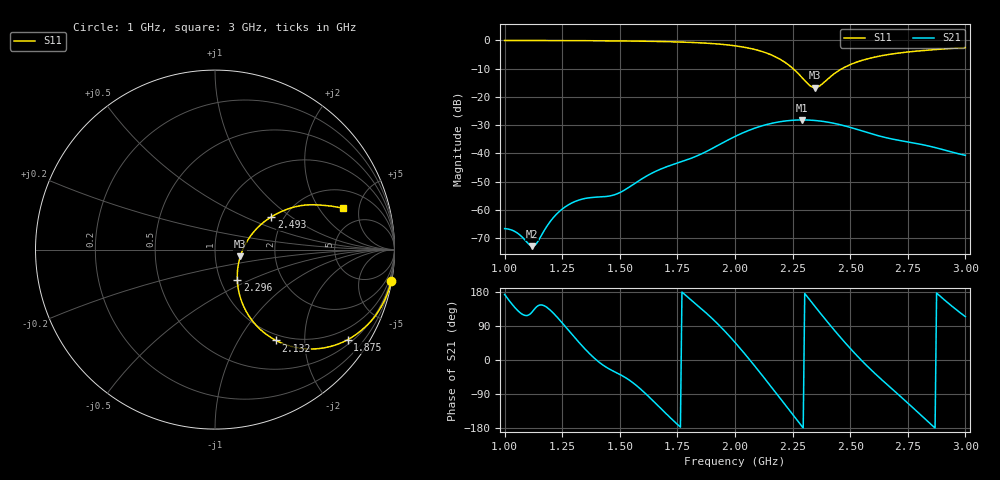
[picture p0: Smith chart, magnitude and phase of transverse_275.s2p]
! TOUCHSTONE file generated by CST MICROWAVE STUDIO
! Date and time: Tue Mar 11 13:58:22 2025
! Project name: transverse.cst
! Parameters = {Fracture=1; B=12.5; D=160; F=15; Feed=2.85625; L=100; M=30; R=0.384908; S=2; Theta=270; length=57.125; wave=114.25}
! Header version: 2024
! Port assignment regex: !\s*Touchstone port\s*([0-9]+)\s*=\s*(CST MWS port|CST DES external port|CST DES block port)\s*(.+)\s* \(\"(.*)\"\)(\s*mode\s*([0-9]+))?.*
! Touchstone port assignment:
! Touchstone port 1 = CST MWS port 1 ("")
! Touchstone port 2 = CST MWS port 2 ("")
# GHz S MA R 50
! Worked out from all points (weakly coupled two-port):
!   305 points, 1 GHz to 3 GHz, reference 50 ohm
!   highest |S21| = -28.13 dB at 2.289 GHz (marker M1); lowest = -72.8 dB at 1.118 GHz (marker M2)
!   lowest |S11| = -16.7 dB at 2.349 GHz (marker M3), VSWR 1.34, Z = 66.2 - j5.01 ohm
!   |S11| at or under -10 dB: 2.252 GHz to 2.464 GHz (212.1 MHz wide, 9 % of centre)
!   S12 and S22 are empty: the file has one direction only
!   S11 on the Smith chart (normalised r, x): 1 GHz: 0, -11; 1.875 GHz: 0.63, -3.14; 2.132 GHz: 0.91, -1.46; 2.296 GHz: 1.20, -0.42; 2.493 GHz: 1.72, +0.72; 3 GHz: 3.24, +3.36
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1  0.9975 -10.0  0.0004691 173.1  0 0.0  0 0.0
1.05263  0.997 -10.7  0.0003988 133.1  0 0.0  0 0.0
1.11842  0.9961 -11.7  0.0002294 126.0  0 0.0  0 0.0
1.13816  0.9956 -12.0  0.0002547 140.0  0 0.0  0 0.0
1.19079  0.9942 -12.8  0.0005709 135.5  0 0.0  0 0.0
1.23026  0.9929 -13.5  0.0008839 111.5  0 0.0  0 0.0
1.28289  0.9912 -14.4  0.001276 74.5  0 0.0  0 0.0
1.33553  0.9892 -15.5  0.001554 37.9  0 0.0  0 0.0
1.48684  0.9794 -18.9  0.001924 -34.0  0 0.0  0 0.0
1.67105  0.9568 -24.5  0.00516 -123.7  0 0.0  0 0.0
1.875  0.8935 -34.2  0.0108 124.0  0 0.0  0 0.0
2  0.8022 -43.4  0.01998 46.4  0 0.0  0 0.0
2.13158  0.6089 -56.2  0.03203 -51.0  0 0.0  0 0.0
2.21711  0.4089 -63.0  0.03752 -117.7  0 0.0  0 0.0
2.28947  0.2233 -55.9  0.0392 -174.3  0 0.0  0 0.0
2.29605  0.2087 -53.5  0.0392 -179.4  0 0.0  0 0.0
2.33553  0.1494 -27.1  0.03866 150.1  0 0.0  0 0.0
2.34868  0.146 -14.7  0.03828 140.0  0 0.0  0 0.0
2.42105  0.2401 24.9  0.03471 86.0  0 0.0  0 0.0
2.49342  0.3628 30.2  0.02947 35.1  0 0.0  0 0.0
2.67105  0.5667 26.0  0.01841 -70.6  0 0.0  0 0.0
3  0.7466 17.9  0.009277 114.3  0 0.0  0 0.0
